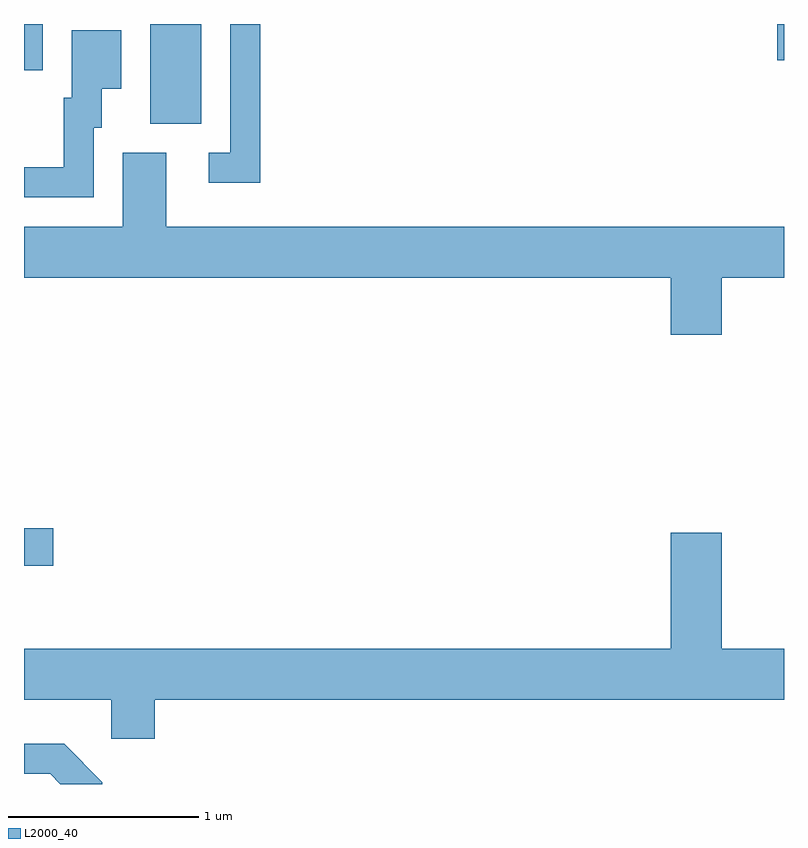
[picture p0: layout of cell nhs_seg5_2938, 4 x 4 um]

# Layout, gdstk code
import gdstk
lib = gdstk.Library(unit=1e-6, precision=1e-09)
def R(c, l, rs):  # rectangles x0, y0, x1, y1
    for r in rs: c.add(gdstk.rectangle(r[:2], r[2:], *l))
def P(c, l, *ps):  # polygons
    for p in ps: c.add(gdstk.Polygon(p, *l))
L2000_40 = (2000, 40)

nhs_seg5_2938 = lib.new_cell('nhs_seg5_2938')
R(nhs_seg5_2938, L2000_40, [(271.611,1515.221,271.764,1515.419), (272.276,1517.546,272.544,1518.072), (271.611,1517.828,271.709,1518.072), (275.576,1517.881,275.611,1518.072)])
P(nhs_seg5_2938, L2000_40, [(272.854,1518.072),(272.696,1518.072),(272.696,1517.394),(272.583,1517.394),(272.583,1517.236),(272.854,1517.236)],
  [(271.979,1517.526),(272.019,1517.526),(272.019,1517.731),(272.124,1517.731),(272.124,1518.039),(271.861,1518.039),(271.861,1517.684),(271.821,1517.684),(271.821,1517.319),(271.611,1517.319),(271.611,1517.161),(271.979,1517.161)],
  [(275.284,1516.736),(275.611,1516.736),(275.611,1517.004),(272.359,1517.004),(272.359,1517.394),(272.131,1517.394),(272.131,1517.004),(271.611,1517.004),(271.611,1516.736),(275.016,1516.736),(275.016,1516.436),(275.284,1516.436)],
  [(272.299,1514.516),(275.611,1514.516),(275.611,1514.784),(275.284,1514.784),(275.284,1515.394),(275.016,1515.394),(275.016,1514.784),(271.611,1514.784),(271.611,1514.516),(272.071,1514.516),(272.071,1514.311),(272.299,1514.311)],
  [(272.024,1514.082),(271.822,1514.284),(271.611,1514.284),(271.611,1514.126),(271.749,1514.126),(271.803,1514.072),(272.024,1514.072)])

lib.write_gds('nhs_seg5_2938.gds')
